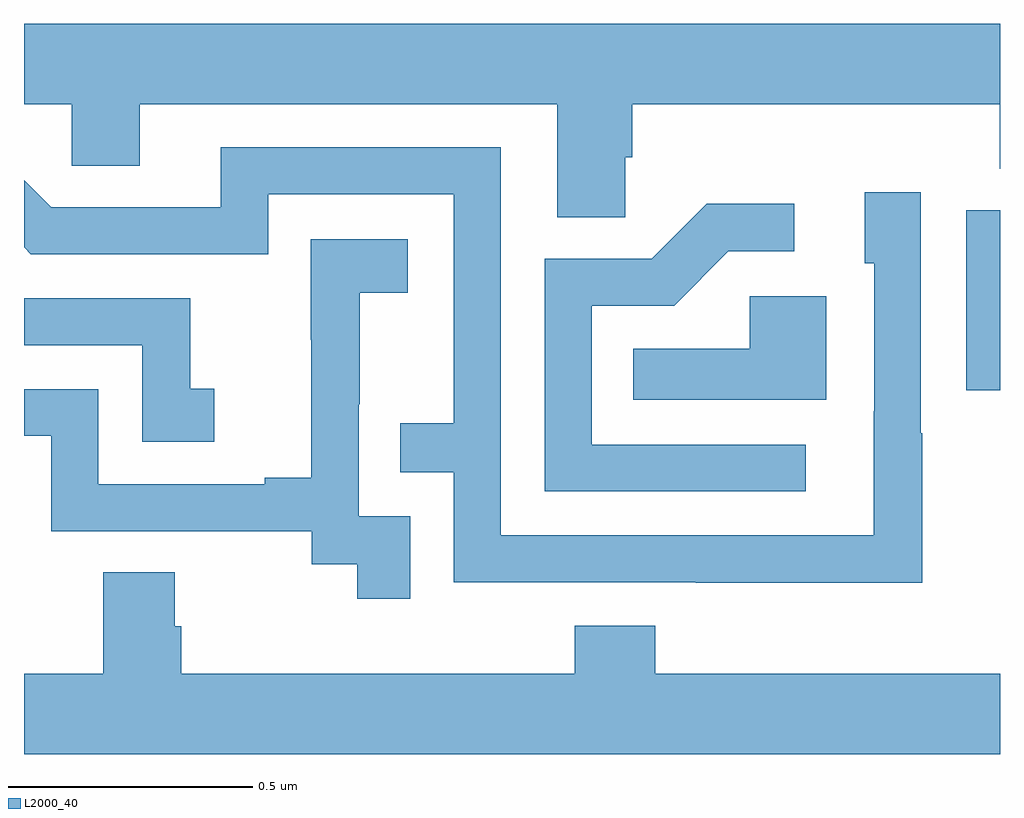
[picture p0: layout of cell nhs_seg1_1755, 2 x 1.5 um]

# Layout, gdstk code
import gdstk
lib = gdstk.Library(unit=1e-6, precision=1e-09)
def R(c, l, rs):  # rectangles x0, y0, x1, y1
    for r in rs: c.add(gdstk.rectangle(r[:2], r[2:], *l))
def P(c, l, *ps):  # polygons
    for p in ps: c.add(gdstk.Polygon(p, *l))
L2000_40 = (2000, 40)

nhs_seg1_1755 = lib.new_cell('nhs_seg1_1755')
R(nhs_seg1_1755, L2000_40, [(134.931,523.173,135,523.542)])
P(nhs_seg1_1755, L2000_40, [(134.232,523.651),(134.246,523.651),(134.246,523.76),(134.999,523.76),(134.999,523.627),(135,523.627),(135,523.924),(133,523.924),(133,523.76),(133.098,523.76),(133.098,523.633),(133.237,523.633),(133.237,523.76),(134.093,523.76),(134.093,523.528),(134.232,523.528)],
  [(134.841,523.085),(134.838,523.085),(134.838,523.579),(134.723,523.579),(134.723,523.434),(134.742,523.434),(134.742,523.13),(134.741,523.13),(134.741,522.876),(133.977,522.876),(133.977,523.671),(133.403,523.671),(133.403,523.548),(133.056,523.548),(133,523.604),(133,523.466),(133.014,523.452),(133.5,523.452),(133.5,523.575),(133.881,523.575),(133.881,523.106),(133.771,523.106),(133.771,523.005),(133.881,523.005),(133.881,522.78),(134.377,522.78),(134.377,522.779),(134.841,522.779)],
  [(134.602,523.062),(134.163,523.062),(134.163,523.347),(134.332,523.347),(134.443,523.458),(134.578,523.458),(134.578,523.556),(134.399,523.556),(134.286,523.443),(134.067,523.443),(134.067,522.966),(134.602,522.966)],
  [(133.791,522.915),(133.686,522.915),(133.686,523.145),(133.688,523.145),(133.688,523.373),(133.786,523.373),(133.786,523.483),(133.588,523.483),(133.588,523.277),(133.589,523.277),(133.589,522.994),(133.493,522.994),(133.493,522.981),(133.152,522.981),(133.152,523.176),(133,523.176),(133,523.08),(133.056,523.08),(133.056,522.885),(133.59,522.885),(133.59,522.817),(133.683,522.817),(133.683,522.746),(133.791,522.746)],
  [(134.644,523.366),(134.487,523.366),(134.487,523.258),(134.248,523.258),(134.248,523.154),(134.644,523.154)],
  [(133.39,523.177),(133.341,523.177),(133.341,523.362),(133,523.362),(133,523.266),(133.242,523.266),(133.242,523.068),(133.39,523.068)],
  [(135,522.592),(134.294,522.592),(134.294,522.691),(134.129,522.691),(134.129,522.592),(133.322,522.592),(133.322,522.69),(133.309,522.69),(133.309,522.8),(133.162,522.8),(133.162,522.592),(133,522.592),(133,522.428),(135,522.428)])

lib.write_gds('nhs_seg1_1755.gds')
